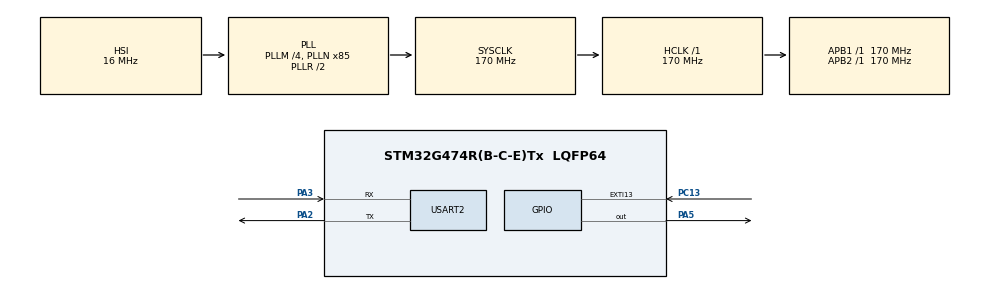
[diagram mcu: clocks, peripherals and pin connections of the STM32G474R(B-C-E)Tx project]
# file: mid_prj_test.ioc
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Mcu.Family=STM32G4
Mcu.Name=STM32G474R(B-C-E)Tx
Mcu.Package=LQFP64
NVIC.EXTI15_10_IRQn=true\:0\:0\:false\:false\:true\:true\:true\:true
NVIC.PriorityGroup=NVIC_PRIORITYGROUP_4
NVIC.USART2_IRQn=true\:0\:0\:false\:false\:true\:true\:true\:true
PA13.GPIO_Label=T_SWDIO
PA13.Signal=SYS_JTMS-SWDIO
PA14.GPIO_Label=T_SWCLK
PA14.Signal=SYS_JTCK-SWCLK
PA2.Mode=Asynchronous
PA2.Signal=USART2_TX
PA3.Mode=Asynchronous
PA3.Signal=USART2_RX
PA5.Signal=GPIO_Output
PB3.GPIO_Label=T_SWO
PB3.Signal=SYS_JTDO-SWO
PC13.Signal=GPXTI13
PC14-OSC32_IN.GPIO_Label=RCC_OSC32_IN
PC14-OSC32_IN.Signal=RCC_OSC32_IN
PC15-OSC32_OUT.GPIO_Label=RCC_OSC32_OUT
PC15-OSC32_OUT.Signal=RCC_OSC32_OUT
PF0-OSC_IN.GPIO_Label=RCC_OSC_IN
PF0-OSC_IN.Signal=RCC_OSC_IN
PF1-OSC_OUT.GPIO_Label=RCC_OSC_OUT
PF1-OSC_OUT.Signal=RCC_OSC_OUT
ProjectManager.HeapSize=0x200
ProjectManager.StackSize=0x400
ProjectManager.TargetToolchain=STM32CubeIDE
RCC.ADC12Freq_Value=170000000
RCC.ADC345Freq_Value=170000000
RCC.AHBFreq_Value=170000000
RCC.APB1Freq_Value=170000000
RCC.APB1TimFreq_Value=170000000
RCC.APB2Freq_Value=170000000
RCC.APB2TimFreq_Value=170000000
RCC.CortexFreq_Value=170000000
RCC.EXTERNAL_CLOCK_VALUE=12288000
RCC.HCLKFreq_Value=170000000
RCC.HSE_VALUE=24000000
RCC.HSI48_VALUE=48000000
RCC.HSI_VALUE=16000000
RCC.LSE_VALUE=32768
RCC.PLLM=RCC_PLLM_DIV4
RCC.PLLN=85
RCC.RTCClockSelection=RCC_RTCCLKSOURCE_LSE
RCC.SYSCLKFreq_VALUE=170000000
RCC.SYSCLKSource=RCC_SYSCLKSOURCE_PLLCLK
RCC.USBFreq_Value=170000000
RCC.VCOOutputFreq_Value=340000000
USART2.VirtualMode-Asynchronous=VM_ASYNC
VP_SYS_VS_DBSignals.Mode=DisableDeadBatterySignals
board=NUCLEO-G474RE

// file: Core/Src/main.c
/* USER CODE BEGIN Header */
/**
  ******************************************************************************
  * @file           : main.c
  * @brief          : STM32 UART Morse Code Player
  ******************************************************************************
  */
/* USER CODE END Header */

#include "main.h"

/* USER CODE BEGIN Includes */
#include <string.h>
/* USER CODE END Includes */

/* USER CODE BEGIN PD */
#define RX_BUF_SIZE 128
#define LINE_BUF_SIZE 32
#define MORSE_UNIT 200
/* USER CODE END PD */

UART_HandleTypeDef huart2;

/* USER CODE BEGIN PV */

uint8_t rx_byte;

volatile uint8_t rx_buf[RX_BUF_SIZE];
volatile uint16_t rx_head = 0;
volatile uint16_t rx_tail = 0;

char line_buf[LINE_BUF_SIZE] = {0};
uint8_t line_index = 0;

/* 記住上一個播放的英文 */
char last_word[LINE_BUF_SIZE] = {0};

/* PC13 重播旗標 */
volatile uint8_t replay_flag = 0;
volatile uint32_t last_button_tick = 0;

/* A-Z 摩斯碼表 */
const char *morse_table[26] =
{
    ".-", "-...", "-.-.", "-..", ".", "..-.",
    "--.", "....", "..", ".---", "-.-", ".-..",
    "--", "-.", "---", ".--.", "--.-", ".-.",
    "...", "-", "..-", "...-", ".--", "-..-",
    "-.--", "--.."
};

/* USER CODE END PV */

void SystemClock_Config(void);
static void MX_GPIO_Init(void);
static void MX_USART2_UART_Init(void);

/* USER CODE BEGIN PFP */
void UART_SendString(const char *str);
uint8_t UART_ReadByte(uint8_t *data);
void Morse_PlaySymbol(char symbol);
void Morse_PlayWord(const char *word);
/* USER CODE END PFP */

/* USER CODE BEGIN 0 */

/* UART 傳送字串 */
void UART_SendString(const char *str)
{
    HAL_UART_Transmit(
        &huart2,
        (uint8_t *)str,
        (uint16_t)strlen(str),
        HAL_MAX_DELAY
    );
}

/* Ring Buffer 讀取 */
uint8_t UART_ReadByte(uint8_t *data)
{
    if (rx_head == rx_tail)
    {
        return 0;
    }

    *data = rx_buf[rx_tail];
    rx_tail = (rx_tail + 1U) % RX_BUF_SIZE;

    return 1;
}

/* UART2 接收中斷 */
void HAL_UART_RxCpltCallback(UART_HandleTypeDef *huart)
{
    if (huart->Instance == USART2)
    {
        uint16_t next_head;

        next_head = (rx_head + 1U) % RX_BUF_SIZE;

        if (next_head != rx_tail)
        {
            rx_buf[rx_head] = rx_byte;
            rx_head = next_head;
        }

        HAL_UART_Receive_IT(&huart2, &rx_byte, 1);
    }
}

/* 播放一個點或劃 */
void Morse_PlaySymbol(char symbol)
{
    if (symbol == '.')
    {
        HAL_GPIO_WritePin(GPIOA, GPIO_PIN_5, GPIO_PIN_SET);
        HAL_Delay(MORSE_UNIT);
        HAL_GPIO_WritePin(GPIOA, GPIO_PIN_5, GPIO_PIN_RESET);
    }
    else if (symbol == '-')
    {
        HAL_GPIO_WritePin(GPIOA, GPIO_PIN_5, GPIO_PIN_SET);
        HAL_Delay(3 * MORSE_UNIT);
        HAL_GPIO_WritePin(GPIOA, GPIO_PIN_5, GPIO_PIN_RESET);
    }
}

/* 播放完整英文 */
void Morse_PlayWord(const char *word)
{
    uint16_t i;
    uint16_t j;
    char c;
    const char *code;

    for (i = 0; word[i] != '\0'; i++)
    {
        c = word[i];

        if (c >= 'a' && c <= 'z')
        {
            c = c - 'a' + 'A';
        }

        if (c < 'A' || c > 'Z')
        {
            continue;
        }

        code = morse_table[c - 'A'];

        for (j = 0; code[j] != '\0'; j++)
        {
            Morse_PlaySymbol(code[j]);

            if (code[j + 1] != '\0')
            {
                HAL_Delay(MORSE_UNIT);
            }
        }

        if (word[i + 1] != '\0')
        {
            HAL_Delay(3 * MORSE_UNIT);
        }
    }

    HAL_GPIO_WritePin(GPIOA, GPIO_PIN_5, GPIO_PIN_RESET);
}

/* USER CODE END 0 */

int main(void)
{

    HAL_Init();

    SystemClock_Config();

    MX_GPIO_Init();
    MX_USART2_UART_Init();

    /* USER CODE BEGIN 2 */

    /* 啟動 UART 中斷接收 */
    if (HAL_UART_Receive_IT(&huart2, &rx_byte, 1) != HAL_OK)
    {
        Error_Handler();
    }

    /* USER CODE END 2 */

    /* Infinite loop */
    while (1)
    {

        /* USER CODE BEGIN 3 */

        uint8_t data;

        /* 處理 UART 接收 */
        if (UART_ReadByte(&data))
        {
            if (data == '\r')
            {
                continue;
            }

            if (data == '\n')
            {
                line_buf[line_index] = '\0';

                if (line_index > 0)
                {
                    UART_SendString("RX: ");
                    UART_SendString(line_buf);
                    UART_SendString("\r\n");

                    /* 記住這次輸入的英文 */
                    strcpy(last_word, line_buf);

                    UART_SendString("PLAYING\r\n");

                    Morse_PlayWord(last_word);

                    UART_SendString("DONE\r\n");
                }

                line_index = 0;
                memset(line_buf, 0, sizeof(line_buf));
            }
            else
            {
                if (line_index < LINE_BUF_SIZE - 1)
                {
                    line_buf[line_index] = (char)data;
                    line_index++;
                }
            }
        }

        /* PC13 按鈕重播 */
        if (replay_flag)
        {
            replay_flag = 0;

            if (last_word[0] != '\0')
            {
                UART_SendString("PLAYING\r\n");

                Morse_PlayWord(last_word);

                UART_SendString("DONE\r\n");
            }
        }

    } /* 結束 while(1) */

    /* USER CODE END 3 */

} /* 結束 main() */

void SystemClock_Config(void)
{
    RCC_OscInitTypeDef RCC_OscInitStruct = {0};
    RCC_ClkInitTypeDef RCC_ClkInitStruct = {0};

    HAL_PWREx_ControlVoltageScaling(
        PWR_REGULATOR_VOLTAGE_SCALE1_BOOST
    );

    RCC_OscInitStruct.OscillatorType = RCC_OSCILLATORTYPE_HSI;
    RCC_OscInitStruct.HSIState = RCC_HSI_ON;
    RCC_OscInitStruct.HSICalibrationValue =
        RCC_HSICALIBRATION_DEFAULT;

    RCC_OscInitStruct.PLL.PLLState = RCC_PLL_ON;
    RCC_OscInitStruct.PLL.PLLSource = RCC_PLLSOURCE_HSI;
    RCC_OscInitStruct.PLL.PLLM = RCC_PLLM_DIV4;
    RCC_OscInitStruct.PLL.PLLN = 85;
    RCC_OscInitStruct.PLL.PLLP = RCC_PLLP_DIV2;
    RCC_OscInitStruct.PLL.PLLQ = RCC_PLLQ_DIV2;
    RCC_OscInitStruct.PLL.PLLR = RCC_PLLR_DIV2;

    if (HAL_RCC_OscConfig(&RCC_OscInitStruct) != HAL_OK)
    {
        Error_Handler();
    }

    RCC_ClkInitStruct.ClockType =
        RCC_CLOCKTYPE_HCLK |
        RCC_CLOCKTYPE_SYSCLK |
        RCC_CLOCKTYPE_PCLK1 |
        RCC_CLOCKTYPE_PCLK2;

    RCC_ClkInitStruct.SYSCLKSource =
        RCC_SYSCLKSOURCE_PLLCLK;

    RCC_ClkInitStruct.AHBCLKDivider =
        RCC_SYSCLK_DIV1;

    RCC_ClkInitStruct.APB1CLKDivider =
        RCC_HCLK_DIV1;

    RCC_ClkInitStruct.APB2CLKDivider =
        RCC_HCLK_DIV1;

    if (HAL_RCC_ClockConfig(
        &RCC_ClkInitStruct,
        FLASH_LATENCY_4
    ) != HAL_OK)
    {
        Error_Handler();
    }
}

static void MX_USART2_UART_Init(void)
{

    huart2.Instance = USART2;
    huart2.Init.BaudRate = 115200;
    huart2.Init.WordLength = UART_WORDLENGTH_8B;
    huart2.Init.StopBits = UART_STOPBITS_1;
    huart2.Init.Parity = UART_PARITY_NONE;
    huart2.Init.Mode = UART_MODE_TX_RX;
    huart2.Init.HwFlowCtl = UART_HWCONTROL_NONE;
    huart2.Init.OverSampling = UART_OVERSAMPLING_16;
    huart2.Init.OneBitSampling = UART_ONE_BIT_SAMPLE_DISABLE;
    huart2.Init.ClockPrescaler = UART_PRESCALER_DIV1;
    huart2.AdvancedInit.AdvFeatureInit =
        UART_ADVFEATURE_NO_INIT;

    if (HAL_UART_Init(&huart2) != HAL_OK)
    {
        Error_Handler();
    }

    if (HAL_UARTEx_SetTxFifoThreshold(
        &huart2,
        UART_TXFIFO_THRESHOLD_1_8
    ) != HAL_OK)
    {
        Error_Handler();
    }

    if (HAL_UARTEx_SetRxFifoThreshold(
        &huart2,
        UART_RXFIFO_THRESHOLD_1_8
    ) != HAL_OK)
    {
        Error_Handler();
    }

    if (HAL_UARTEx_DisableFifoMode(&huart2) != HAL_OK)
    {
        Error_Handler();
    }

}

static void MX_GPIO_Init(void)
{
    GPIO_InitTypeDef GPIO_InitStruct = {0};

    __HAL_RCC_GPIOC_CLK_ENABLE();
    __HAL_RCC_GPIOF_CLK_ENABLE();
    __HAL_RCC_GPIOA_CLK_ENABLE();
    __HAL_RCC_GPIOB_CLK_ENABLE();

    /* PA5 LED 預設熄滅 */
    HAL_GPIO_WritePin(
        GPIOA,
        GPIO_PIN_5,
        GPIO_PIN_RESET
    );

    /* PC13 B1 按鈕 */
    GPIO_InitStruct.Pin = GPIO_PIN_13;
    GPIO_InitStruct.Mode = GPIO_MODE_IT_RISING;
    GPIO_InitStruct.Pull = GPIO_NOPULL;
    HAL_GPIO_Init(GPIOC, &GPIO_InitStruct);

    /* PA5 LED */
    GPIO_InitStruct.Pin = GPIO_PIN_5;
    GPIO_InitStruct.Mode = GPIO_MODE_OUTPUT_PP;
    GPIO_InitStruct.Pull = GPIO_NOPULL;
    GPIO_InitStruct.Speed = GPIO_SPEED_FREQ_LOW;
    HAL_GPIO_Init(GPIOA, &GPIO_InitStruct);

    /* 啟用 PC13 中斷 */
    HAL_NVIC_SetPriority(EXTI15_10_IRQn, 0, 0);
    HAL_NVIC_EnableIRQ(EXTI15_10_IRQn);

}

/* USER CODE BEGIN 4 */

/* PC13 按鈕中斷 */
void HAL_GPIO_EXTI_Callback(uint16_t GPIO_Pin)
{
    if (GPIO_Pin == GPIO_PIN_13)
    {
        uint32_t now = HAL_GetTick();

        /* 200 ms 防彈跳 */
        if ((now - last_button_tick) >= 200U)
        {
            replay_flag = 1;
            last_button_tick = now;
        }
    }
}

/* USER CODE END 4 */

/**
  * @brief Error Handler
  */
void Error_Handler(void)
{
    __disable_irq();
    while (1)
    {
    }
}
